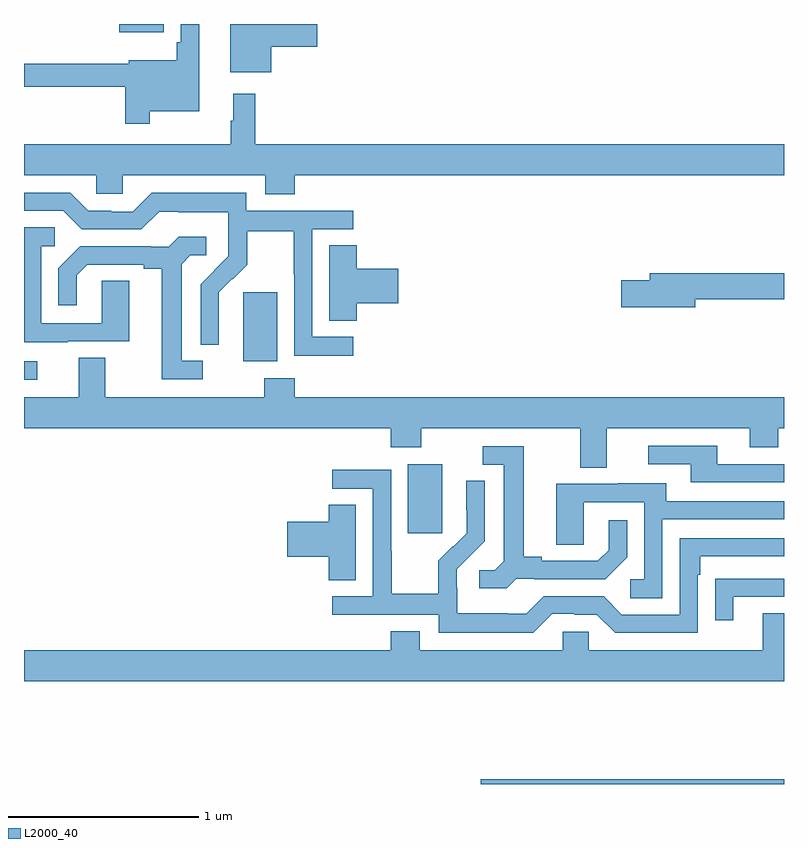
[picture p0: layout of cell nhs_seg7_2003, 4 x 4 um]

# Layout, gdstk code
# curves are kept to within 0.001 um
import gdstk
lib = gdstk.Library(unit=1e-6, precision=1e-09)
def R(c, l, rs):  # rectangles x0, y0, x1, y1
    for r in rs: c.add(gdstk.rectangle(r[:2], r[2:], *l))
def P(c, l, *ps):  # polygons
    for p in ps: c.add(gdstk.Polygon(p, *l))
L2000_40 = (2000, 40)

nhs_seg7_2003 = lib.new_cell('nhs_seg7_2003')
R(nhs_seg7_2003, L2000_40, [(245.405,1076,247,1076.024), (245.021,1077.321,245.2,1077.682), (243,1078.128,243.07,1078.224), (244.154,1078.226,244.333,1078.587), (243.5,1079.957,243.736,1080)])
P(nhs_seg7_2003, L2000_40, [(243.661,1079.54),(243.922,1079.54),(243.922,1080),(243.825,1080),(243.825,1079.905),(243.805,1079.905),(243.805,1079.809),(243.551,1079.809),(243.551,1079.791),(243,1079.791),(243,1079.67),(243.532,1079.67),(243.532,1079.475),(243.661,1079.475)],
  [(244.3,1079.879),(244.543,1079.879),(244.543,1080),(244.085,1080),(244.085,1079.747),(244.3,1079.747)],
  [(244.424,1079.204),(247,1079.204),(247,1079.368),(244.217,1079.368),(244.217,1079.632),(244.1,1079.632),(244.1,1079.492),(244.089,1079.492),(244.089,1079.368),(243,1079.368),(243,1079.204),(243.381,1079.204),(243.381,1079.106),(243.519,1079.106),(243.519,1079.204),(244.271,1079.204),(244.271,1079.105),(244.424,1079.105)],
  [(244.732,1078.353),(244.518,1078.353),(244.518,1078.92),(244.732,1078.92),(244.732,1079.016),(244.17,1079.016),(244.17,1079.113),(243.673,1079.113),(243.573,1079.013),(243.458,1079.013),(243.458,1079.016),(243.339,1079.016),(243.243,1079.112),(243,1079.112),(243,1079.016),(243.207,1079.016),(243.303,1078.92),(243.618,1078.92),(243.711,1079.013),(243.811,1079.013),(243.811,1079.009),(244.074,1079.009),(244.074,1078.875),(244.076,1078.875),(244.076,1078.778),(243.93,1078.63),(243.93,1078.312),(244.026,1078.312),(244.025,1078.589),(244.095,1078.659),(244.098,1078.656),(244.175,1078.733),(244.175,1078.908),(244.42,1078.908),(244.42,1078.684),(244.422,1078.684),(244.422,1078.255),(244.732,1078.255)],
  [(243.229,1078.329),(243.553,1078.329),(243.553,1078.649),(243.408,1078.649),(243.408,1078.425),(243.09,1078.425),(243.09,1078.83),(243.163,1078.83),(243.163,1078.931),(243,1078.931),(243,1078.325),(243.229,1078.325)],
  [(243.94,1078.227),(243.829,1078.227),(243.829,1078.735),(243.876,1078.782),(243.958,1078.782),(243.958,1078.879),(243.814,1078.879),(243.762,1078.827),(243.668,1078.827),(243.668,1078.83),(243.296,1078.83),(243.18,1078.714),(243.18,1078.521),(243.277,1078.521),(243.277,1078.677),(243.334,1078.734),(243.629,1078.734),(243.629,1078.712),(243.725,1078.712),(243.725,1078.131),(243.94,1078.131)],
  [(244.751,1078.529),(244.969,1078.529),(244.969,1078.712),(244.751,1078.712),(244.751,1078.835),(244.607,1078.835),(244.607,1078.438),(244.751,1078.438)],
  [(246.532,1078.552),(247,1078.552),(247,1078.688),(246.293,1078.688),(246.293,1078.652),(246.144,1078.652),(246.144,1078.51),(246.532,1078.51)],
  [(246.067,1077.872),(246.821,1077.872),(246.821,1077.773),(246.969,1077.773),(246.969,1077.872),(247,1077.872),(247,1078.036),(244.424,1078.036),(244.424,1078.135),(244.264,1078.135),(244.264,1078.036),(243.427,1078.036),(243.427,1078.244),(243.287,1078.244),(243.287,1078.036),(243,1078.036),(243,1077.872),(244.931,1077.872),(244.931,1077.773),(245.091,1077.773),(245.091,1077.872),(245.927,1077.872),(245.927,1077.664),(246.067,1077.664)],
  [(247,1077.684),(246.649,1077.684),(246.649,1077.78),(246.285,1077.78),(246.285,1077.684),(246.509,1077.684),(246.509,1077.588),(247,1077.588)],
  [(245.592,1077.081),(245.686,1077.081),(245.686,1077.078),(246.058,1077.078),(246.174,1077.194),(246.174,1077.388),(246.077,1077.388),(246.077,1077.231),(246.02,1077.174),(245.725,1077.174),(245.725,1077.197),(245.629,1077.197),(245.629,1077.777),(245.415,1077.777),(245.415,1077.681),(245.525,1077.681),(245.525,1077.173),(245.478,1077.126),(245.397,1077.126),(245.397,1077.029),(245.54,1077.029)],
  [(245.781,1076.895),(245.897,1076.895),(245.897,1076.892),(246.015,1076.892),(246.111,1076.796),(246.546,1076.796),(246.546,1077.101),(246.559,1077.101),(246.559,1077.198),(247,1077.198),(247,1077.294),(246.45,1077.294),(246.45,1076.892),(246.147,1076.892),(246.051,1076.988),(245.736,1076.988),(245.643,1076.895),(245.543,1076.895),(245.543,1076.899),(245.28,1076.899),(245.28,1077.033),(245.278,1077.033),(245.278,1077.13),(245.424,1077.278),(245.424,1077.596),(245.328,1077.596),(245.328,1077.442),(245.33,1077.442),(245.33,1077.32),(245.259,1077.249),(245.256,1077.252),(245.179,1077.175),(245.179,1077.001),(244.935,1077.001),(244.935,1077.224),(244.932,1077.224),(244.932,1077.654),(244.623,1077.654),(244.623,1077.555),(244.836,1077.555),(244.836,1076.988),(244.623,1076.988),(244.623,1076.892),(245.184,1076.892),(245.184,1076.795),(245.681,1076.795)],
  [(246.36,1077.393),(247,1077.393),(247,1077.489),(246.379,1077.489),(246.379,1077.583),(246.125,1077.583),(246.125,1077.579),(245.801,1077.579),(245.801,1077.259),(245.946,1077.259),(245.946,1077.483),(246.264,1077.483),(246.264,1077.078),(246.192,1077.078),(246.192,1076.977),(246.36,1076.977)],
  [(244.747,1077.47),(244.604,1077.47),(244.604,1077.38),(244.386,1077.38),(244.386,1077.197),(244.604,1077.197),(244.604,1077.073),(244.747,1077.073)],
  [(246.733,1076.985),(247,1076.985),(247,1077.081),(246.739,1077.081),(246.739,1077.08),(246.637,1077.08),(246.637,1076.862),(246.733,1076.862)],
  [(247,1076.899),(246.887,1076.899),(246.887,1076.704),(245.973,1076.704),(245.973,1076.802),(245.835,1076.802),(245.835,1076.704),(245.083,1076.704),(245.083,1076.803),(244.931,1076.803),(244.931,1076.704),(243,1076.704),(243,1076.54),(247,1076.54)])

lib.write_gds('nhs_seg7_2003.gds')
